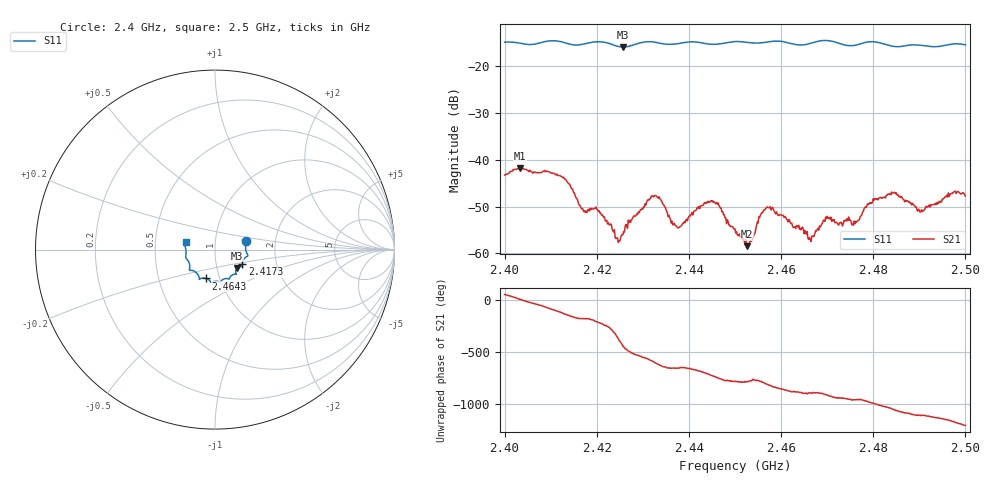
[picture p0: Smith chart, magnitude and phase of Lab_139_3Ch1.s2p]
# Hz S RI R 50
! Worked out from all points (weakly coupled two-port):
!   601 points, 2.4 GHz to 2.5 GHz, reference 50 ohm
!   highest |S21| = -41.77 dB at 2.4033 GHz (marker M1); lowest = -58.5 dB at 2.4527 GHz (marker M2)
!   lowest |S11| = -15.9 dB at 2.4257 GHz (marker M3), VSWR 1.38, Z = 62.5 - j13.1 ohm
!   |S11| at or under -10 dB: start of sweep to end of sweep
!   S12 and S22 are empty: the file has one direction only
!   S11 on the Smith chart (normalised r, x): 2.4 GHz: 1.41, +0.14; 2.4173 GHz: 1.34, -0.23; 2.4643 GHz: 0.86, -0.28; 2.5 GHz: 0.72, +0.06
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2.4e9  0.1733 0.0493  0.00435 0.00529  0 0  0 0
2.403333e9  0.1731 0.0315  0.00811 0.000878  0 0  0 0
2.412333e9  0.1781 -0.038  -0.0036 -0.00557  0 0  0 0
2.416667e9  0.153 -0.0747  -0.003 1.97e-05  0 0  0 0
2.417333e9  0.1521 -0.0822  -0.00285 4.6e-05  0 0  0 0
2.420333e9  0.1543 -0.0973  -0.00225 0.00166  0 0  0 0
2.4245e9  0.1321 -0.0957  0.00147 -2.52e-06  0 0  0 0
2.425667e9  0.1228 -0.1022  0.00018 -0.00157  0 0  0 0
2.4315e9  0.1189 -0.1384  -0.00313 0.0022  0 0  0 0
2.433333e9  0.1128 -0.1369  -0.000866 0.00379  0 0  0 0
2.4375e9  0.0848 -0.1514  0.000831 0.00169  0 0  0 0
2.444667e9  0.0583 -0.1612  0.0036 -1.77e-05  0 0  0 0
2.45e9  0.0292 -0.1806  0.000916 -0.00158  0 0  0 0
2.452667e9  0.0193 -0.178  0.000529 -0.00107  0 0  0 0
2.457167e9  -0.0145 -0.1811  -0.00011 -0.00307  0 0  0 0
2.464333e9  -0.0497 -0.1606  -0.00174 -0.000369  0 0  0 0
2.466667e9  -0.076 -0.1597  -0.00152 -0.000146  0 0  0 0
2.469667e9  -0.0877 -0.1663  -0.00241 0.000325  0 0  0 0
2.475833e9  -0.1146 -0.1205  -0.00112 0.0019  0 0  0 0
2.483333e9  -0.1407 -0.0898  0.00302 0.00301  0 0  0 0
2.4905e9  -0.1622 -0.038  0.0026 -0.00131  0 0  0 0
2.5e9  -0.1637 0.042  -0.00229 -0.00339  0 0  0 0
